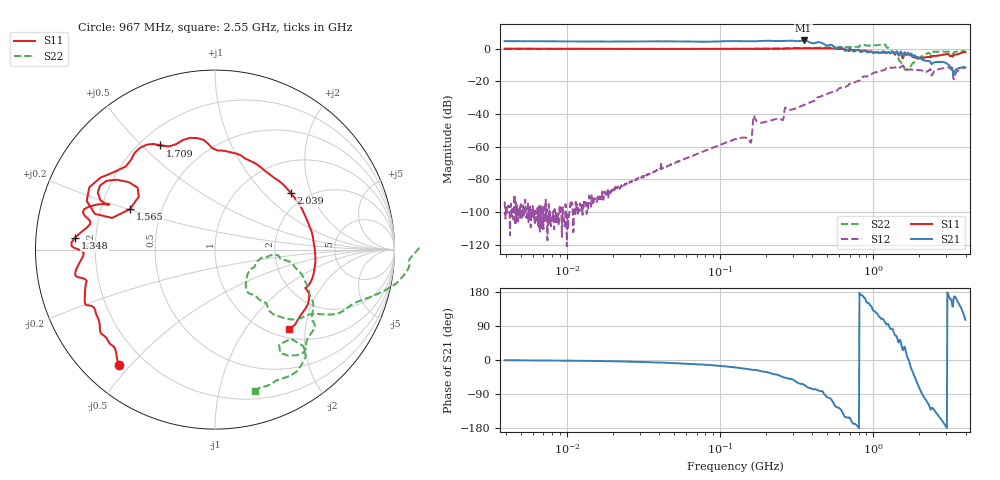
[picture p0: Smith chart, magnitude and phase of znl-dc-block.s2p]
#  HZ  S  RI  R  50.00
! Rohde & Schwarz Vector Network Analyzer
! Rohde-Schwarz,ZNL20-2Port,1323001220101312,1.72.1.6-23.02.1.246
! Created: UTC 10/7/2024, 7:40:28 PM
! freq[Hz]  re:S11  im:S11  re:S21  im:S21  re:S12  im:S12  re:S22  im:S22
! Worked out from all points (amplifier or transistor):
!   1023 points, 3.9 MHz to 3.99 GHz, reference 50 ohm
!   highest |S21| = 5.1 dB at 349.7 MHz (marker M1)
!   |S21| within 3 dB of that: start of sweep to 488.5 MHz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
!   unconditionally stable (mu >= 1): 1.445 GHz to end of sweep
!   at 12.35 MHz: K = -1.37, MSG = 50.0 dB, |S12| = -95.5 dB
!   at 124.7 MHz: K = -1.00, MSG = 30.1 dB, |S12| = -55.3 dB
!   at 3.99 GHz: K = 1.48, MAG = -4.1 dB, |S12| = -11.5 dB
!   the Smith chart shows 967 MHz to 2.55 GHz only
!   S11 on the Smith chart (normalised r, x): 967 MHz: 0.11, -0.46; 1.348 GHz: 0.12, +0.04; 1.565 GHz: 0.33, +0.20; 1.709 GHz: 0.28, +0.57; 2.039 GHz: 1.67, +1.45; 2.55 GHz: 1.17, -1.64
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3900000  1.01 -0.00686  1.72 -0.02  8.32e-06 1.93e-05  -0.9969 0.00746
1.243581e7  1.004 -0.0212  1.679 -0.0651  -7.27e-06 -8.44e-06  -0.9971 0.0288
3.938566e7  0.9925 -0.0698  1.688 -0.1899  -0.000206 -4.26e-06  -0.9923 0.0878
1.24739e8  0.9745 -0.2188  1.637 -0.5839  -0.00168 0.000314  -0.9642 0.2686
1.549691e8  0.9622 -0.2775  1.55 -0.7069  -0.00154 -0.000125  -0.9465 0.3362
1.69251e8  0.9607 -0.3025  1.533 -0.7544  -0.007 0.000156  -0.949 0.3458
2.508107e8  0.9105 -0.438  1.259 -1.197  -0.00658 0.00184  -0.8764 0.5369
3.496674e8  0.8396 -0.6235  0.7702 -1.636  -0.0158 0.0102  -0.7582 0.7404
3.977514e8  0.7607 -0.7056  0.3516 -1.457  -0.0191 0.0151  -0.6813 0.8251
4.524477e8  0.6892 -0.7893  0.2107 -1.545  -0.0239 0.0251  -0.5836 0.9137
6.265163e8  0.1896 -0.9779  -0.7985 -0.7386  -0.0198 0.0624  -0.2072 1.101
9.669805e8  -0.5344 -0.6418  -0.6524 0.5082  0.0819 0.1413  0.6936 1.036
1.161275e9  -0.7257 -0.2893  -0.2491 0.798  0.1825 0.1231  1.039 0.8211
1.259726e9  -0.7718 -0.1066  -0.0245 0.8039  0.2667 0.011  1.077 -0.1073
1.348115e9  -0.7804 0.0659  0.1755 0.7987  0.2581 -0.0711  0.6883 -0.3549
1.565016e9  -0.4746 0.225  0.5541 0.2751  0.1584 -0.2629  0.1875 -0.244
1.709247e9  -0.3037 0.5803  0.7016 -0.0365  0.0818 -0.216  0.2617 -0.045
2.038811e9  0.4227 0.3143  0.0697 -0.4988  -0.0494 -0.2158  0.5237 -0.2271
2.550144e9  0.4128 -0.4434  -0.2902 -0.2682  -0.1678 -0.1426  0.2201 -0.7867
3.000867e9  -0.0569 -0.6878  -0.362 -0.0161  -0.2611 0.00994  -0.2935 -0.7655
3.413527e9  -0.3257 -0.5746  -0.2066 0.0486  -0.1508 0.052  -0.5487 -0.6013
3.9897e9  -0.761 -0.2169  -0.075 0.257  -0.0661 0.2573  -0.8244 -0.1498
